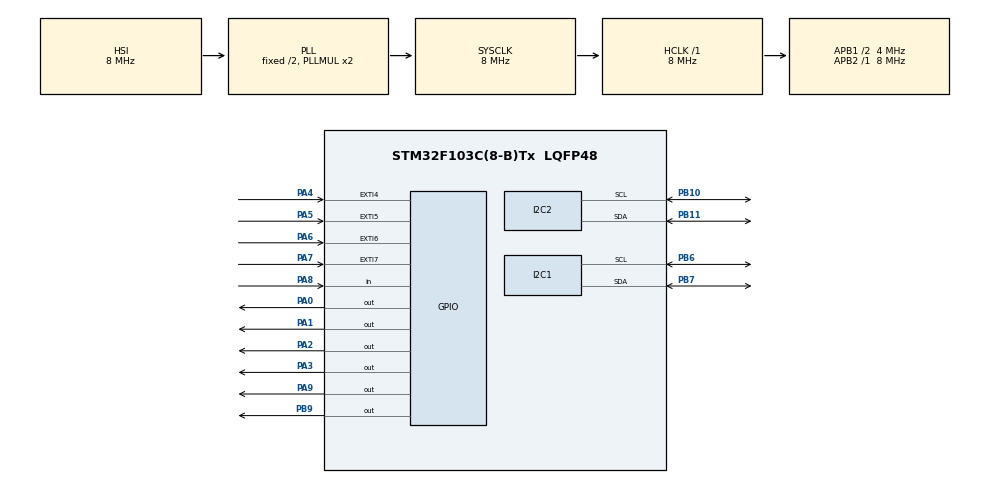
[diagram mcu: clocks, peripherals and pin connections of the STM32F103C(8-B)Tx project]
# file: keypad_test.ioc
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I2C1.I2C_Mode=I2C_Fast
I2C2.I2C_Mode=I2C_Fast
Mcu.Family=STM32F1
Mcu.Name=STM32F103C(8-B)Tx
Mcu.Package=LQFP48
NVIC.EXTI9_5_IRQn=true\:0\:0\:false\:false\:true\:true\:true\:true
NVIC.PriorityGroup=NVIC_PRIORITYGROUP_4
PA0-WKUP.Signal=GPIO_Output
PA1.Signal=GPIO_Output
PA13.Mode=Serial_Wire
PA13.Signal=SYS_JTMS-SWDIO
PA14.Mode=Serial_Wire
PA14.Signal=SYS_JTCK-SWCLK
PA2.Signal=GPIO_Output
PA3.Signal=GPIO_Output
PA4.Signal=GPXTI4
PA5.Signal=GPXTI5
PA6.Signal=GPXTI6
PA7.Signal=GPXTI7
PA8.Signal=GPIO_Input
PA9.Signal=GPIO_Output
PB10.Mode=I2C
PB10.Signal=I2C2_SCL
PB11.Mode=I2C
PB11.Signal=I2C2_SDA
PB6.Mode=I2C
PB6.Signal=I2C1_SCL
PB7.Mode=I2C
PB7.Signal=I2C1_SDA
PB9.Signal=GPIO_Output
PD0-OSC_IN.Mode=HSE-External-Oscillator
PD0-OSC_IN.Signal=RCC_OSC_IN
PD1-OSC_OUT.Mode=HSE-External-Oscillator
PD1-OSC_OUT.Signal=RCC_OSC_OUT
ProjectManager.HeapSize=0x200
ProjectManager.StackSize=0x400
ProjectManager.TargetToolchain=STM32CubeIDE
RCC.AHBFreq_Value=8000000
RCC.APB1CLKDivider=RCC_HCLK_DIV2
RCC.APB1Freq_Value=4000000
RCC.APB1TimFreq_Value=8000000
RCC.APB2Freq_Value=8000000
RCC.APB2TimFreq_Value=8000000
RCC.HCLKFreq_Value=8000000
RCC.SYSCLKFreq_VALUE=8000000
RCC.SYSCLKSource=RCC_SYSCLKSOURCE_PLLCLK
RCC.USBFreq_Value=8000000
TIM1.Prescaler=71
VP_TIM1_VS_ClockSourceINT.Mode=Internal
board=custom

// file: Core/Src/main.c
/* USER CODE BEGIN Header */
/**
  ******************************************************************************
  * @file           : main.c
  * @brief          : Main program body
  ******************************************************************************
  * @attention
  *
  * Copyright (c) 2024 STMicroelectronics.
  * All rights reserved.
  *
  * This software is licensed under terms that can be found in the LICENSE file
  * in the root directory of this software component.
  * If no LICENSE file comes with this software, it is provided AS-IS.
  *
  ******************************************************************************
  */
/* USER CODE END Header */
#include "main.h"

/* USER CODE BEGIN Includes */

#include "fonts.h"
#include "ssd1306.h"
#include "stdio.h"

/* USER CODE END Includes */

/* USER CODE BEGIN PD */

// Debounce delay (adjust as needed)
//#define DEBOUNCE_DELAY 50 // 50 ms

/* USER CODE END PD */

I2C_HandleTypeDef hi2c1;
I2C_HandleTypeDef hi2c2;

TIM_HandleTypeDef htim1;

/* USER CODE BEGIN PV */

//uint8_t keyPressed = 0;
// Global variable to store the pressed key
//volatile uint8_t keyPressed = 0;

GPIO_InitTypeDef GPIO_InitStructPrivate = {0};
uint32_t previousMillis = 0;
uint32_t currentMillis = 0;
uint8_t keyPressed = 0;

/* USER CODE END PV */

void SystemClock_Config(void);
static void MX_GPIO_Init(void);
static void MX_I2C1_Init(void);
static void MX_TIM1_Init(void);
static void MX_I2C2_Init(void);
/* USER CODE BEGIN PFP */

//void Keys_Detect(void);
void oledPrintChar(int asciiValue);
void DashboardScreen();

/* USER CODE END PFP */

int main(void)
{

  /* MCU Configuration--------------------------------------------------------*/

  /* Reset of all peripherals, Initializes the Flash interface and the Systick. */
  HAL_Init();

  /* Configure the system clock */
  SystemClock_Config();

  /* Initialize all configured peripherals */
  MX_GPIO_Init();
  MX_I2C1_Init();
  MX_TIM1_Init();
  MX_I2C2_Init();
  /* USER CODE BEGIN 2 */

  SSD1306_Init();

  SSD1306_GotoXY (24,0);
  SSD1306_Puts ("DEM-C", &Font_16x26, 1);
  SSD1306_GotoXY (25, 30);
  SSD1306_Puts ("Environment", &Font_7x10, 1);
  SSD1306_GotoXY (39, 42);
  SSD1306_Puts ("Monitor", &Font_7x10, 1);
  SSD1306_UpdateScreen();
  HAL_Delay(3000);
  SSD1306_Clear();
//  SSD1306_GotoXY (0,0);

  HAL_GPIO_WritePin(GPIOA, GPIO_PIN_0, 1);
  HAL_GPIO_WritePin(GPIOA, GPIO_PIN_1, 1);
  HAL_GPIO_WritePin(GPIOA, GPIO_PIN_2, 1);
  HAL_GPIO_WritePin(GPIOA, GPIO_PIN_3, 1);

  /* USER CODE END 2 */

  /* Infinite loop */
  /* USER CODE BEGIN WHILE */
  while (1)
  {

//	  DashboardScreen();
//	  Keys_Detect();
	  HAL_Delay(100);

    /* USER CODE END WHILE */

  }
}

void SystemClock_Config(void)
{
  RCC_OscInitTypeDef RCC_OscInitStruct = {0};
  RCC_ClkInitTypeDef RCC_ClkInitStruct = {0};

  /** Initializes the RCC Oscillators according to the specified parameters
  * in the RCC_OscInitTypeDef structure.
  */
  RCC_OscInitStruct.OscillatorType = RCC_OSCILLATORTYPE_HSI;
  RCC_OscInitStruct.HSIState = RCC_HSI_ON;
  RCC_OscInitStruct.HSICalibrationValue = RCC_HSICALIBRATION_DEFAULT;
  RCC_OscInitStruct.PLL.PLLState = RCC_PLL_ON;
  RCC_OscInitStruct.PLL.PLLSource = RCC_PLLSOURCE_HSI_DIV2;
  RCC_OscInitStruct.PLL.PLLMUL = RCC_PLL_MUL2;
  if (HAL_RCC_OscConfig(&RCC_OscInitStruct) != HAL_OK)
  {
    Error_Handler();
  }

  /** Initializes the CPU, AHB and APB buses clocks
  */
  RCC_ClkInitStruct.ClockType = RCC_CLOCKTYPE_HCLK|RCC_CLOCKTYPE_SYSCLK
                              |RCC_CLOCKTYPE_PCLK1|RCC_CLOCKTYPE_PCLK2;
  RCC_ClkInitStruct.SYSCLKSource = RCC_SYSCLKSOURCE_PLLCLK;
  RCC_ClkInitStruct.AHBCLKDivider = RCC_SYSCLK_DIV1;
  RCC_ClkInitStruct.APB1CLKDivider = RCC_HCLK_DIV2;
  RCC_ClkInitStruct.APB2CLKDivider = RCC_HCLK_DIV1;

  if (HAL_RCC_ClockConfig(&RCC_ClkInitStruct, FLASH_LATENCY_0) != HAL_OK)
  {
    Error_Handler();
  }
}

static void MX_I2C1_Init(void)
{

  hi2c1.Instance = I2C1;
  hi2c1.Init.ClockSpeed = 400000;
  hi2c1.Init.DutyCycle = I2C_DUTYCYCLE_2;
  hi2c1.Init.OwnAddress1 = 0;
  hi2c1.Init.AddressingMode = I2C_ADDRESSINGMODE_7BIT;
  hi2c1.Init.DualAddressMode = I2C_DUALADDRESS_DISABLE;
  hi2c1.Init.OwnAddress2 = 0;
  hi2c1.Init.GeneralCallMode = I2C_GENERALCALL_DISABLE;
  hi2c1.Init.NoStretchMode = I2C_NOSTRETCH_DISABLE;
  if (HAL_I2C_Init(&hi2c1) != HAL_OK)
  {
    Error_Handler();
  }

}

static void MX_I2C2_Init(void)
{

  hi2c2.Instance = I2C2;
  hi2c2.Init.ClockSpeed = 400000;
  hi2c2.Init.DutyCycle = I2C_DUTYCYCLE_2;
  hi2c2.Init.OwnAddress1 = 0;
  hi2c2.Init.AddressingMode = I2C_ADDRESSINGMODE_7BIT;
  hi2c2.Init.DualAddressMode = I2C_DUALADDRESS_DISABLE;
  hi2c2.Init.OwnAddress2 = 0;
  hi2c2.Init.GeneralCallMode = I2C_GENERALCALL_DISABLE;
  hi2c2.Init.NoStretchMode = I2C_NOSTRETCH_DISABLE;
  if (HAL_I2C_Init(&hi2c2) != HAL_OK)
  {
    Error_Handler();
  }

}

static void MX_TIM1_Init(void)
{

  TIM_ClockConfigTypeDef sClockSourceConfig = {0};
  TIM_MasterConfigTypeDef sMasterConfig = {0};

  htim1.Instance = TIM1;
  htim1.Init.Prescaler = 71;
  htim1.Init.CounterMode = TIM_COUNTERMODE_UP;
  htim1.Init.Period = 65535;
  htim1.Init.ClockDivision = TIM_CLOCKDIVISION_DIV1;
  htim1.Init.RepetitionCounter = 0;
  htim1.Init.AutoReloadPreload = TIM_AUTORELOAD_PRELOAD_DISABLE;
  if (HAL_TIM_Base_Init(&htim1) != HAL_OK)
  {
    Error_Handler();
  }
  sClockSourceConfig.ClockSource = TIM_CLOCKSOURCE_INTERNAL;
  if (HAL_TIM_ConfigClockSource(&htim1, &sClockSourceConfig) != HAL_OK)
  {
    Error_Handler();
  }
  sMasterConfig.MasterOutputTrigger = TIM_TRGO_RESET;
  sMasterConfig.MasterSlaveMode = TIM_MASTERSLAVEMODE_DISABLE;
  if (HAL_TIMEx_MasterConfigSynchronization(&htim1, &sMasterConfig) != HAL_OK)
  {
    Error_Handler();
  }

}

static void MX_GPIO_Init(void)
{
  GPIO_InitTypeDef GPIO_InitStruct = {0};

  /* GPIO Ports Clock Enable */
  __HAL_RCC_GPIOD_CLK_ENABLE();
  __HAL_RCC_GPIOA_CLK_ENABLE();
  __HAL_RCC_GPIOB_CLK_ENABLE();

  /*Configure GPIO pin Output Level */
  HAL_GPIO_WritePin(GPIOA, GPIO_PIN_0|GPIO_PIN_1|GPIO_PIN_2|GPIO_PIN_3
                          |GPIO_PIN_9, GPIO_PIN_RESET);

  /*Configure GPIO pin Output Level */
  HAL_GPIO_WritePin(GPIOB, GPIO_PIN_9, GPIO_PIN_RESET);

  /*Configure GPIO pins : PA0 PA1 PA2 PA3
                           PA9 */
  GPIO_InitStruct.Pin = GPIO_PIN_0|GPIO_PIN_1|GPIO_PIN_2|GPIO_PIN_3
                          |GPIO_PIN_9;
  GPIO_InitStruct.Mode = GPIO_MODE_OUTPUT_PP;
  GPIO_InitStruct.Pull = GPIO_NOPULL;
  GPIO_InitStruct.Speed = GPIO_SPEED_FREQ_LOW;
  HAL_GPIO_Init(GPIOA, &GPIO_InitStruct);

  /*Configure GPIO pins : PA4 PA5 PA6 PA7 */
  GPIO_InitStruct.Pin = GPIO_PIN_4|GPIO_PIN_5|GPIO_PIN_6|GPIO_PIN_7;
  GPIO_InitStruct.Mode = GPIO_MODE_IT_RISING;
  GPIO_InitStruct.Pull = GPIO_NOPULL;
  HAL_GPIO_Init(GPIOA, &GPIO_InitStruct);

  /*Configure GPIO pin : PA8 */
  GPIO_InitStruct.Pin = GPIO_PIN_8;
  GPIO_InitStruct.Mode = GPIO_MODE_INPUT;
  GPIO_InitStruct.Pull = GPIO_NOPULL;
  HAL_GPIO_Init(GPIOA, &GPIO_InitStruct);

  /*Configure GPIO pin : PB9 */
  GPIO_InitStruct.Pin = GPIO_PIN_9;
  GPIO_InitStruct.Mode = GPIO_MODE_OUTPUT_PP;
  GPIO_InitStruct.Pull = GPIO_NOPULL;
  GPIO_InitStruct.Speed = GPIO_SPEED_FREQ_LOW;
  HAL_GPIO_Init(GPIOB, &GPIO_InitStruct);

  /* EXTI interrupt init*/
  HAL_NVIC_SetPriority(EXTI9_5_IRQn, 0, 0);
  HAL_NVIC_EnableIRQ(EXTI9_5_IRQn);

}

/* USER CODE BEGIN 4 */

void HAL_GPIO_EXTI_Callback(uint16_t GPIO_Pin)
{
  currentMillis = HAL_GetTick();
  if (currentMillis - previousMillis > 10) {
    /*Configure GPIO pins : PB6 PB7 PB8 PB9 to GPIO_INPUT*/
    GPIO_InitStructPrivate.Pin = GPIO_PIN_4|GPIO_PIN_5|GPIO_PIN_6|GPIO_PIN_7;
    GPIO_InitStructPrivate.Mode = GPIO_MODE_INPUT;
    GPIO_InitStructPrivate.Pull = GPIO_NOPULL;
    GPIO_InitStructPrivate.Speed = GPIO_SPEED_FREQ_LOW;
    HAL_GPIO_Init(GPIOB, &GPIO_InitStructPrivate);

    HAL_GPIO_WritePin(GPIOA, GPIO_PIN_0, 1);
    HAL_GPIO_WritePin(GPIOA, GPIO_PIN_1, 0);
    HAL_GPIO_WritePin(GPIOA, GPIO_PIN_2, 0);
    HAL_GPIO_WritePin(GPIOA, GPIO_PIN_3, 0);
    if(GPIO_Pin == GPIO_PIN_4 && HAL_GPIO_ReadPin(GPIOA, GPIO_PIN_4))
    {
      keyPressed = 68; //ASCII value of D
      oledPrintChar(keyPressed);
    }
    else if(GPIO_Pin == GPIO_PIN_5 && HAL_GPIO_ReadPin(GPIOA, GPIO_PIN_5))
    {
      keyPressed = 67; //ASCII value of C
      oledPrintChar(keyPressed);
    }
    else if(GPIO_Pin == GPIO_PIN_6 && HAL_GPIO_ReadPin(GPIOA, GPIO_PIN_6))
    {
      keyPressed = 66; //ASCII value of B
      oledPrintChar(keyPressed);
    }
    else if(GPIO_Pin == GPIO_PIN_7 && HAL_GPIO_ReadPin(GPIOA, GPIO_PIN_7))
    {
      keyPressed = 65; //ASCII value of A
      oledPrintChar(keyPressed);
    }

    HAL_GPIO_WritePin(GPIOA, GPIO_PIN_0, 0);
    HAL_GPIO_WritePin(GPIOA, GPIO_PIN_1, 1);
    HAL_GPIO_WritePin(GPIOA, GPIO_PIN_2, 0);
    HAL_GPIO_WritePin(GPIOA, GPIO_PIN_3, 0);
    if(GPIO_Pin == GPIO_PIN_4 && HAL_GPIO_ReadPin(GPIOA, GPIO_PIN_4))
    {
      keyPressed = 35; //ASCII value of #
      oledPrintChar(keyPressed);
    }
    else if(GPIO_Pin == GPIO_PIN_5 && HAL_GPIO_ReadPin(GPIOA, GPIO_PIN_5))
    {
      keyPressed = 57; //ASCII value of 9
      oledPrintChar(keyPressed);
    }
    else if(GPIO_Pin == GPIO_PIN_6 && HAL_GPIO_ReadPin(GPIOA, GPIO_PIN_6))
    {
      keyPressed = 54; //ASCII value of 6
      oledPrintChar(keyPressed);
    }
    else if(GPIO_Pin == GPIO_PIN_7 && HAL_GPIO_ReadPin(GPIOA, GPIO_PIN_7))
    {
      keyPressed = 51; //ASCII value of 3
      oledPrintChar(keyPressed);
    }

    HAL_GPIO_WritePin(GPIOA, GPIO_PIN_0, 0);
    HAL_GPIO_WritePin(GPIOA, GPIO_PIN_1, 0);
    HAL_GPIO_WritePin(GPIOA, GPIO_PIN_2, 1);
    HAL_GPIO_WritePin(GPIOA, GPIO_PIN_3, 0);
    if(GPIO_Pin == GPIO_PIN_4 && HAL_GPIO_ReadPin(GPIOA, GPIO_PIN_4))
    {
      keyPressed = 48; //ASCII value of 0
      oledPrintChar(keyPressed);
    }
    else if(GPIO_Pin == GPIO_PIN_5 && HAL_GPIO_ReadPin(GPIOA, GPIO_PIN_5))
    {
      keyPressed = 56; //ASCII value of 8
      oledPrintChar(keyPressed);
    }
    else if(GPIO_Pin == GPIO_PIN_6 && HAL_GPIO_ReadPin(GPIOA, GPIO_PIN_6))
    {
      keyPressed = 53; //ASCII value of 5
      oledPrintChar(keyPressed);
    }
    else if(GPIO_Pin == GPIO_PIN_7 && HAL_GPIO_ReadPin(GPIOA, GPIO_PIN_7))
    {
      keyPressed = 50; //ASCII value of 2
      oledPrintChar(keyPressed);
    }

    HAL_GPIO_WritePin(GPIOA, GPIO_PIN_0, 0);
    HAL_GPIO_WritePin(GPIOA, GPIO_PIN_1, 0);
    HAL_GPIO_WritePin(GPIOA, GPIO_PIN_2, 0);
    HAL_GPIO_WritePin(GPIOA, GPIO_PIN_3, 1);
    if(GPIO_Pin == GPIO_PIN_4 && HAL_GPIO_ReadPin(GPIOA, GPIO_PIN_4))
    {
      keyPressed = 42; //ASCII value of *
      oledPrintChar(keyPressed);
    }
    else if(GPIO_Pin == GPIO_PIN_5 && HAL_GPIO_ReadPin(GPIOA, GPIO_PIN_5))
    {
      keyPressed = 55; //ASCII value of 7
      oledPrintChar(keyPressed);
    }
    else if(GPIO_Pin == GPIO_PIN_6 && HAL_GPIO_ReadPin(GPIOA, GPIO_PIN_6))
    {
      keyPressed = 52; //ASCII value of 4
      oledPrintChar(keyPressed);
    }
    else if(GPIO_Pin == GPIO_PIN_7 && HAL_GPIO_ReadPin(GPIOA, GPIO_PIN_7))
    {
      keyPressed = 49; //ASCII value of 1
      oledPrintChar(keyPressed);
    }

    HAL_GPIO_WritePin(GPIOA, GPIO_PIN_0, 1);
    HAL_GPIO_WritePin(GPIOA, GPIO_PIN_1, 1);
    HAL_GPIO_WritePin(GPIOA, GPIO_PIN_2, 1);
    HAL_GPIO_WritePin(GPIOA, GPIO_PIN_3, 1);
    /*Configure GPIO pins : PB6 PB7 PB8 PB9 back to EXTI*/
    GPIO_InitStructPrivate.Mode = GPIO_MODE_IT_RISING;
    GPIO_InitStructPrivate.Pull = GPIO_PULLDOWN;
    HAL_GPIO_Init(GPIOB, &GPIO_InitStructPrivate);
    previousMillis = currentMillis;
  }
}

//void Keys_Detect(void)
//{
//	/* Setting Row 1 ad High and others LOW */
//	HAL_GPIO_WritePin(GPIOA, R1_Pin, GPIO_PIN_SET);
//	HAL_GPIO_WritePin(GPIOA, R2_Pin, GPIO_PIN_RESET);
//	HAL_GPIO_WritePin(GPIOA, R3_Pin, GPIO_PIN_RESET);
//	HAL_GPIO_WritePin(GPIOA, R4_Pin, GPIO_PIN_RESET);
//
//	if(HAL_GPIO_ReadPin(GPIOA, C1_Pin) == GPIO_PIN_SET)
//	{
//		/* 1 */
////		  LCD_command(0x01);
////			LCD_string((uint8_t *)"You Pressed");
////
////		  LCD_command(0x38);                       // Set 8 bit mode
////	    LCD_command(0XC0);                       // Moving the cursor to second line
////	    LCD_string((uint8_t *)"Key 1");
//
////		SSD1306_Clear();
////		SSD1306_GotoXY (0,0);
////
////		SSD1306_Puts ("1", &Font_16x26, 1);
////		SSD1306_UpdateScreen();
//
//		keyPressed = 49; //ASCII value of 1
//		oledPrintChar(keyPressed);
//		while (HAL_GPIO_ReadPin (GPIOA, C1_Pin));
//	}
//
//	if(HAL_GPIO_ReadPin(GPIOA, C2_Pin) == GPIO_PIN_SET)
//	{
//		/* 2 */
////		  LCD_command(0x01);
////			LCD_string((uint8_t *)"You Pressed");
////
////		  LCD_command(0x38);                       // Set 8 bit mode
////	    LCD_command(0XC0);                       // Moving the cursor to second line
////	    LCD_string((uint8_t *)"Key 2");
//
////		SSD1306_Clear();
////		SSD1306_GotoXY (0,0);
////		SSD1306_Puts ("2", &Font_16x26, 1);
////		SSD1306_UpdateScreen();
//
//		keyPressed = 50; //ASCII value of 2
//		oledPrintChar(keyPressed);
//		while (HAL_GPIO_ReadPin (GPIOA, C2_Pin));
//	}
//
//	if(HAL_GPIO_ReadPin(GPIOA, C3_Pin) == GPIO_PIN_SET)
//	{
//		/* 3 */
////		  LCD_command(0x01);
////			LCD_string((uint8_t *)"You Pressed");
////
////		  LCD_command(0x38);                       // Set 8 bit mode
////	    LCD_command(0XC0);                       // Moving the cursor to second line
////	    LCD_string((uint8_t *)"Key 3");
//
////		SSD1306_Clear();
////		SSD1306_GotoXY (0,0);
////		SSD1306_Puts ("3", &Font_16x26, 1);
////		SSD1306_UpdateScreen();
//
//		keyPressed = 51; //ASCII value of 2
//		oledPrintChar(keyPressed);
//		while (HAL_GPIO_ReadPin (GPIOA, C3_Pin));
//	}
//
//	if(HAL_GPIO_ReadPin(GPIOA, C4_Pin) == GPIO_PIN_SET)
//	{
//		/* A */
////		  LCD_command(0x01);
////			LCD_string((uint8_t *)"You Pressed");
////
////		  LCD_command(0x38);                       // Set 8 bit mode
////	    LCD_command(0XC0);                       // Moving the cursor to second line
////	    LCD_string((uint8_t *)"Key A");
////
////		SSD1306_Clear();
////		SSD1306_GotoXY (0,0);
////		SSD1306_Puts ("A", &Font_16x26, 1);
////		SSD1306_UpdateScreen();
//
//		keyPressed = 65; //ASCII value of 2
//		oledPrintChar(keyPressed);
//		while (HAL_GPIO_ReadPin (GPIOA, C4_Pin));
//	}
//
//	/* Setting Row 2 ad High and others LOW */
//	HAL_GPIO_WritePin(GPIOA, R1_Pin, GPIO_PIN_RESET);
//	HAL_GPIO_WritePin(GPIOA, R2_Pin, GPIO_PIN_SET);
//	HAL_GPIO_WritePin(GPIOA, R3_Pin, GPIO_PIN_RESET);
//	HAL_GPIO_WritePin(GPIOA, R4_Pin, GPIO_PIN_RESET);
//
//	if(HAL_GPIO_ReadPin(GPIOA, C1_Pin) == GPIO_PIN_SET)
//	{
//		/* 4 */
////		  LCD_command(0x01);
////			LCD_string((uint8_t *)"You Pressed");
////
////		  LCD_command(0x38);                       // Set 8 bit mode
////	    LCD_command(0XC0);                       // Moving the cursor to second line
////	    LCD_string((uint8_t *)"Key 4");
//
////		SSD1306_Clear();
////		SSD1306_GotoXY (0,0);
////		SSD1306_Puts ("4", &Font_16x26, 1);
////		SSD1306_UpdateScreen();
//
//		keyPressed = 52; //ASCII value of 2
//		oledPrintChar(keyPressed);
//		while (HAL_GPIO_ReadPin (GPIOA, C1_Pin));
//	}
//
//	if(HAL_GPIO_ReadPin(GPIOA, C2_Pin) == GPIO_PIN_SET)
//	{
//		/* 5 */
////		  LCD_command(0x01);
////			LCD_string((uint8_t *)"You Pressed");
////
////		  LCD_command(0x38);                       // Set 8 bit mode
////	    LCD_command(0XC0);                       // Moving the cursor to second line
////	    LCD_string((uint8_t *)"Key 5");
//
////		SSD1306_Clear();
////		SSD1306_GotoXY (0,0);
////		SSD1306_Puts ("5", &Font_16x26, 1);
////		SSD1306_UpdateScreen();
//
//		keyPressed = 53; //ASCII value of 2
//		oledPrintChar(keyPressed);
//		while (HAL_GPIO_ReadPin (GPIOA, C2_Pin));
//	}
//
//	if(HAL_GPIO_ReadPin(GPIOA, C3_Pin) == GPIO_PIN_SET)
//	{
//		/* 6 */
////		  LCD_command(0x01);
////			LCD_string((uint8_t *)"You Pressed");
////
////		  LCD_command(0x38);                       // Set 8 bit mode
////	    LCD_command(0XC0);                       // Moving the cursor to second line
////	    LCD_string((uint8_t *)"Key 6");
////
////		SSD1306_Clear();
////		SSD1306_GotoXY (0,0);
////		SSD1306_Puts ("6", &Font_16x26, 1);
////		SSD1306_UpdateScreen();
//
//		keyPressed = 54; //ASCII value of 2
//		oledPrintChar(keyPressed);
//		while (HAL_GPIO_ReadPin (GPIOA, C3_Pin));
//	}
//
//	if(HAL_GPIO_ReadPin(GPIOA, C4_Pin) == GPIO_PIN_SET)
//	{
//		/* B */
////		  LCD_command(0x01);
////			LCD_string((uint8_t *)"You Pressed");
////
////		  LCD_command(0x38);                       // Set 8 bit mode
////	    LCD_command(0XC0);                       // Moving the cursor to second line
////	    LCD_string((uint8_t *)"Key B");
//
////		SSD1306_Clear();
////		SSD1306_GotoXY (0,0);
////		SSD1306_Puts ("B", &Font_16x26, 1);
////		SSD1306_UpdateScreen();
//
//		keyPressed = 66; //ASCII value of 2
//		oledPrintChar(keyPressed);
//		while (HAL_GPIO_ReadPin (GPIOA, C4_Pin));
//	}
//
//	/* Setting Row 3 ad High and others LOW */
//	HAL_GPIO_WritePin(GPIOA, R1_Pin, GPIO_PIN_RESET);
//	HAL_GPIO_WritePin(GPIOA, R2_Pin, GPIO_PIN_RESET);
//	HAL_GPIO_WritePin(GPIOA, R3_Pin, GPIO_PIN_SET);
//	HAL_GPIO_WritePin(GPIOA, R4_Pin, GPIO_PIN_RESET);
//
//	if(HAL_GPIO_ReadPin(GPIOA, C1_Pin) == GPIO_PIN_SET)
//	{
//		/* 7 */
////		  LCD_command(0x01);
////			LCD_string((uint8_t *)"You Pressed");
////
////		  LCD_command(0x38);                       // Set 8 bit mode
////	    LCD_command(0XC0);                       // Moving the cursor to second line
////	    LCD_string((uint8_t *)"Key 7");
//
////		SSD1306_Clear();
////		SSD1306_GotoXY (0,0);
////		SSD1306_Puts ("7", &Font_16x26, 1);
////		SSD1306_UpdateScreen();
//
//		keyPressed = 55; //ASCII value of 2
//		oledPrintChar(keyPressed);
//		while (HAL_GPIO_ReadPin (GPIOA, C1_Pin));
//	}
//
//	if(HAL_GPIO_ReadPin(GPIOA, C2_Pin) == GPIO_PIN_SET)
//	{
//		/* 8 */
////		  LCD_command(0x01);
////			LCD_string((uint8_t *)"You Pressed");
////
////		  LCD_command(0x38);                       // Set 8 bit mode
////	    LCD_command(0XC0);                       // Moving the cursor to second line
////	    LCD_string((uint8_t *)"Key 8");
////
////		SSD1306_Clear();
////		SSD1306_GotoXY (0,0);
////		SSD1306_Puts ("8", &Font_16x26, 1);
////		SSD1306_UpdateScreen();
//
//		keyPressed = 56; //ASCII value of 2
//		oledPrintChar(keyPressed);
//		while (HAL_GPIO_ReadPin (GPIOA, C2_Pin));
//	}
//
//	if(HAL_GPIO_ReadPin(GPIOA, C3_Pin) == GPIO_PIN_SET)
//	{
//		/* 9 */
////		  LCD_command(0x01);
////			LCD_string((uint8_t *)"You Pressed");
////
////		  LCD_command(0x38);                       // Set 8 bit mode
////	    LCD_command(0XC0);                       // Moving the cursor to second line
////	    LCD_string((uint8_t *)"Key 9");
////
////		SSD1306_Clear();
////		SSD1306_GotoXY (0,0);
////		SSD1306_Puts ("9", &Font_16x26, 1);
////		SSD1306_UpdateScreen();
//
//		keyPressed = 57; //ASCII value of 2
//		oledPrintChar(keyPressed);
//		while (HAL_GPIO_ReadPin (GPIOA, C3_Pin));
//	}
//
//	if(HAL_GPIO_ReadPin(GPIOA, C4_Pin) == GPIO_PIN_SET)
//	{
//		/* C */
////		  LCD_command(0x01);
////			LCD_string((uint8_t *)"You Pressed");
////
////		  LCD_command(0x38);                       // Set 8 bit mode
////	    LCD_command(0XC0);                       // Moving the cursor to second line
////	    LCD_string((uint8_t *)"Key C");
//
////		SSD1306_Clear();
////		SSD1306_GotoXY (0,0);
////		SSD1306_Puts ("C", &Font_16x26, 1);
////		SSD1306_UpdateScreen();
//
//		keyPressed = 67; //ASCII value of 2
//		oledPrintChar(keyPressed);
//		while (HAL_GPIO_ReadPin (GPIOA, C4_Pin));
//	}
//
//	/* Setting Row 4 ad High and others LOW */
//	HAL_GPIO_WritePin(GPIOA, R1_Pin, GPIO_PIN_RESET);
//	HAL_GPIO_WritePin(GPIOA, R2_Pin, GPIO_PIN_RESET);
//	HAL_GPIO_WritePin(GPIOA, R3_Pin, GPIO_PIN_RESET);
//	HAL_GPIO_WritePin(GPIOA, R4_Pin, GPIO_PIN_SET);
//
//	if(HAL_GPIO_ReadPin(GPIOA, C1_Pin) == GPIO_PIN_SET)
//	{
//		/* * */
////		  LCD_command(0x01);
////			LCD_string((uint8_t *)"You Pressed");
////
////		  LCD_command(0x38);                       // Set 8 bit mode
////	    LCD_command(0XC0);                       // Moving the cursor to second line
////	    LCD_string((uint8_t *)"Key *");
//
////		SSD1306_Clear();
////		SSD1306_GotoXY (0,0);
////		SSD1306_Puts ("*", &Font_16x26, 1);
////		SSD1306_UpdateScreen();
//
//		keyPressed = 42; //ASCII value of 2
//		oledPrintChar(keyPressed);
//		while (HAL_GPIO_ReadPin (GPIOA, C1_Pin));
//	}
//
//	if(HAL_GPIO_ReadPin(GPIOA, C2_Pin) == GPIO_PIN_SET)
//	{
//		/* 0 */
////		  LCD_command(0x01);
////			LCD_string((uint8_t *)"You Pressed");
////
////		  LCD_command(0x38);                       // Set 8 bit mode
////	    LCD_command(0XC0);                       // Moving the cursor to second line
////	    LCD_string((uint8_t *)"Key 0");
//
////		SSD1306_Clear();
////		SSD1306_GotoXY (0,0);
////		SSD1306_Puts ("0", &Font_16x26, 1);
////		SSD1306_UpdateScreen();
//
//		keyPressed = 48; //ASCII value of 2
//		oledPrintChar(keyPressed);
//		while (HAL_GPIO_ReadPin (GPIOA, C2_Pin));
//	}
//
//	if(HAL_GPIO_ReadPin(GPIOA, C3_Pin) == GPIO_PIN_SET)
//	{
//		/* # */
////		  LCD_command(0x01);
////			LCD_string((uint8_t *)"You Pressed");
////
////		  LCD_command(0x38);                       // Set 8 bit mode
////	    LCD_command(0XC0);                       // Moving the cursor to second line
////	    LCD_string((uint8_t *)"Key #");
//
////		SSD1306_Clear();
////		SSD1306_GotoXY (0,0);
////		SSD1306_Puts ("#", &Font_16x26, 1);
////		SSD1306_UpdateScreen();
//
//		keyPressed = 35; //ASCII value of 2
//		oledPrintChar(keyPressed);
//		while (HAL_GPIO_ReadPin (GPIOA, C3_Pin));
//	}
//
//	if(HAL_GPIO_ReadPin(GPIOA, C4_Pin) == GPIO_PIN_SET)
//	{
//		/* D */
////		  LCD_command(0x01);
////			LCD_string((uint8_t *)"You Pressed");
////
////		  LCD_command(0x38);                       // Set 8 bit mode
////	    LCD_command(0XC0);                       // Moving the cursor to second line
////	    LCD_string((uint8_t *)"Key D");
//
////		SSD1306_Clear();
////		SSD1306_GotoXY (0,0);
////		SSD1306_Puts ("D", &Font_16x26, 1);
////		SSD1306_UpdateScreen();
//
//		keyPressed = 68; //ASCII value of 2
//		oledPrintChar(keyPressed);
//		while (HAL_GPIO_ReadPin (GPIOA, C4_Pin));
//	}
//}

//void Keys_Detect(void)
//{
//    // Reset keyPressed before detection
//    keyPressed = 0;
//
//    // 4x4 Keypad Layout
//    const uint8_t keyMap[4][4] = {
//        {'1', '2', '3', 'A'},
//        {'4', '5', '6', 'B'},
//        {'7', '8', '9', 'C'},
//        {'*', '0', '#', 'D'}
//    };
//
//    // Scan through rows
//    for (int row = 0; row < 4; row++)
//    {
//        // Reset all rows to low
//        HAL_GPIO_WritePin(GPIOA, R1_Pin, GPIO_PIN_RESET);
//        HAL_GPIO_WritePin(GPIOA, R2_Pin, GPIO_PIN_RESET);
//        HAL_GPIO_WritePin(GPIOA, R3_Pin, GPIO_PIN_RESET);
//        HAL_GPIO_WritePin(GPIOA, R4_Pin, GPIO_PIN_RESET);
//
//        // Set current row high
//        switch(row)
//        {
//            case 0: HAL_GPIO_WritePin(GPIOA, R1_Pin, GPIO_PIN_SET); break;
//            case 1: HAL_GPIO_WritePin(GPIOA, R2_Pin, GPIO_PIN_SET); break;
//            case 2: HAL_GPIO_WritePin(GPIOA, R3_Pin, GPIO_PIN_SET); break;
//            case 3: HAL_GPIO_WritePin(GPIOA, R4_Pin, GPIO_PIN_SET); break;
//        }
//
//        // Small delay to stabilize
//        HAL_Delay(10);
//
//        // Check columns
//        for (int col = 0; col < 4; col++)
//        {
//            GPIO_PinState colState;
//            switch(col)
//            {
//                case 0: colState = HAL_GPIO_ReadPin(GPIOA, C1_Pin); break;
//                case 1: colState = HAL_GPIO_ReadPin(GPIOA, C2_Pin); break;
//                case 2: colState = HAL_GPIO_ReadPin(GPIOA, C3_Pin); break;
//                case 3: colState = HAL_GPIO_ReadPin(GPIOA, C4_Pin); break;
//            }
//
//            // Key is pressed
//            if (colState == GPIO_PIN_SET)
//            {
//                // Debounce
//                HAL_Delay(DEBOUNCE_DELAY);
//
//                // Re-check to confirm key press
//                switch(col)
//                {
//                    case 0: colState = HAL_GPIO_ReadPin(GPIOA, C1_Pin); break;
//                    case 1: colState = HAL_GPIO_ReadPin(GPIOA, C2_Pin); break;
//                    case 2: colState = HAL_GPIO_ReadPin(GPIOA, C3_Pin); break;
//                    case 3: colState = HAL_GPIO_ReadPin(GPIOA, C4_Pin); break;
//                }
//
//                // Confirm key press after debounce
//                if (colState == GPIO_PIN_SET)
//                {
//                    // Store the key
//                    keyPressed = keyMap[row][col];
//
//                    // Optional: Print the key
//                    oledPrintChar(keyPressed);
//
//                    // Wait for key release
//                    while(colState == GPIO_PIN_SET)
//                    {
//                        switch(col)
//                        {
//                            case 0: colState = HAL_GPIO_ReadPin(GPIOA, C1_Pin); break;
//                            case 1: colState = HAL_GPIO_ReadPin(GPIOA, C2_Pin); break;
//                            case 2: colState = HAL_GPIO_ReadPin(GPIOA, C3_Pin); break;
//                            case 3: colState = HAL_GPIO_ReadPin(GPIOA, C4_Pin); break;
//                        }
//                    }
//
//                    // Exit after first key press
//                    return;
//                }
//            }
//        }
//    }
//}

void oledPrintChar(int asciiValue){
	char character[2];
	character[0] = (char)asciiValue;
	character[1] = '\0';

	SSD1306_Clear();
	SSD1306_GotoXY (0,0);
	SSD1306_Puts (character, &Font_16x26, 1);
	SSD1306_UpdateScreen();
}

void DashboardScreen(){
	SSD1306_GotoXY (29,0);
	SSD1306_Puts ("20.5 C", &Font_11x18, 1);
	SSD1306_GotoXY (29, 20);
	SSD1306_Puts ("50.9 %", &Font_11x18, 1);

	SSD1306_DrawLine(0, 45, SSD1306_WIDTH - 1, 45, 1);

	SSD1306_GotoXY (6, 52);
	SSD1306_Puts ("A", &Font_7x10, 1);
	SSD1306_DrawCircle(9, 56, 7, 1);
	SSD1306_GotoXY (20, 52);
	SSD1306_Puts ("MENU", &Font_7x10, 1);

	SSD1306_GotoXY (113, 52);
	SSD1306_Puts ("ON", &Font_7x10, 1);
	SSD1306_UpdateScreen();
//	  HAL_Delay(3000);
//	  SSD1306_Clear();
}

/* USER CODE END 4 */

void Error_Handler(void)
{
  __disable_irq();
  while (1)
  {
  }
}
